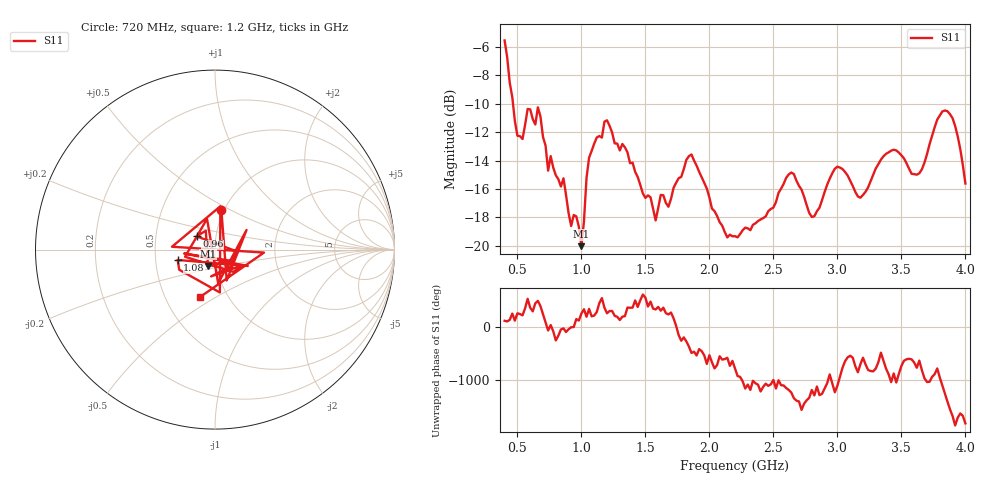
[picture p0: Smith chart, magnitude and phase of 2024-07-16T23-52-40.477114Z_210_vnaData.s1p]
!Created with skrf (http://scikit-rf.org).
# Hz S RI R 50.0
!freq ReS11 ImS11
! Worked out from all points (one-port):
!   181 points, 400 MHz to 4 GHz, reference 50 ohm
!   lowest |S11| = -20.0 dB at 1 GHz (marker M1), VSWR 1.22, Z = 45.5 - j8.42 ohm
!   |S11| at or under -10 dB: 465.5 MHz to end of sweep
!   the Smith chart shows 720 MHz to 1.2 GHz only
!   S11 on the Smith chart (normalised r, x): 720 MHz: 0.97, +0.45; 960 MHz: 0.81, +0.12; 1.08 GHz: 0.65, -0.08; 1.2 GHz: 0.74, -0.42
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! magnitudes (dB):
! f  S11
! 400 MHz  -5.6
! 500 MHz  -12.3
! 660 MHz  -10.3
! 720 MHz  -13.0
! 740 MHz  -14.7
! 860 MHz  -15.3
! 920 MHz  -18.6
! 960 MHz  -17.9
! 1 GHz  -20.0
! 1.04 GHz  -15.2
! 1.08 GHz  -13.3
! 1.2 GHz  -11.2
! 1.3 GHz  -13.3
! 1.58 GHz  -18.2
! 1.76 GHz  -15.2
! 1.86 GHz  -13.6
! 2.2 GHz  -19.3
! 2.66 GHz  -15.0
! 2.8 GHz  -18.0
! 2.98 GHz  -14.6
! 3.1 GHz  -15.4
! 3.18 GHz  -16.6
! 3.44 GHz  -13.2
! 3.56 GHz  -14.6
! 3.66 GHz  -14.6
! 3.84 GHz  -10.5
! 3.92 GHz  -11.6
! 4 GHz  -15.6
